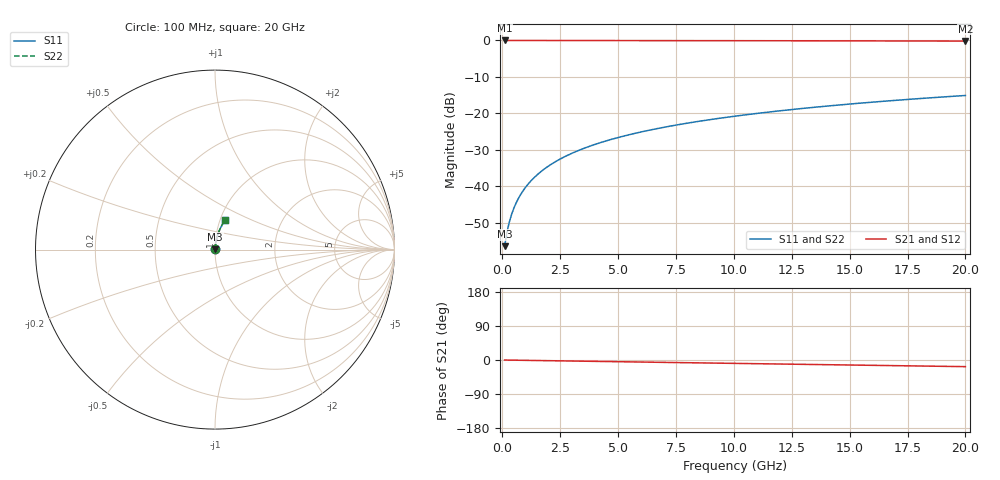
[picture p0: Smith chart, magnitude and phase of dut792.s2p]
! Touchstone file exported from HFSS 2026.1.0
!  File:  C:/ffzhzh/LocalFiles/Ansys_Project_Files/temp_train_TMRDL_792_1783155976_43440.aedt
!  Generated:  05:07:29 PM Jul  4, 2026
!  Design:  TMRDL
!  Project:  temp_train_TMRDL_792_1783155976_43440
! Variables:
!  h_bsmrdl = 2um
!  h_ox = 20um
!  h_rdl = 5um
!  h_sub = 80um
!  h_tmrdl = 4.39um
!  h_tsv = 80um
!  h_via = 3um
!  l_bsmrdl = 300um
!  l_sub = 625.26um
!  l_tmrdl = 225.26um
!  m_sub = 200um
!  pitch = 43.85um
!  r_tsv = 6um
!  s_tmrdl = 10um
!  w_bsmrdl = 18um
!  w_sub = 500um
!  w_tmrdl = 19.24um
!  x_tsv_center1 = 234.88um
!  x_tsv_center2 = 552.88um
!  x_tsv_center3 = 797.38um
!  x_tsv_center4 = 1115.38um
!  x_tsv_center5 = 1359.88um
!  x_tsv_center6 = 1677.88um
# GHz S MA R 50.000000
! Terminal data exported
! Port[1] = TM_RDL1_1_T1
! Port[2] = TM_RDL1_1_T2
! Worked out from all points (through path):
!   200 points, 100 MHz to 20 GHz, reference 50 ohm
!   highest |S21| = -0.01 dB at 100 MHz (marker M1); lowest = -0.2 dB at 20 GHz (marker M2)
!   group delay of S21, straight-line fit = 2.43 ps
!   lowest |S11| = -56.4 dB at 100 MHz (marker M3), VSWR 1.00, Z = 50.1 + j0.102 ohm
!   |S11| at or under -10 dB: start of sweep to end of sweep
!   |S22| runs from -56.4 to -15.1 dB; largest |S21 - S12| = 4.4e-15
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0.1  0.001506 42.6  0.9989 -0.1  0.9989 -0.1  0.001506 42.6
! Gamma 0 0 0 0
! Port Impedance 50 0 50 0
0.2  0.002318 59.8  0.9988 -0.2  0.9988 -0.2  0.002318 59.8
0.3  0.003199 67.5  0.9988 -0.3  0.9988 -0.3  0.003199 67.5
0.4  0.004097 71.9  0.9987 -0.4  0.9987 -0.4  0.004097 71.9
0.5  0.005004 74.7  0.9987 -0.5  0.9987 -0.5  0.005004 74.7
0.6  0.005919 76.8  0.9987 -0.6  0.9987 -0.6  0.005919 76.8
0.8  0.007763 79.4  0.9986 -0.7  0.9986 -0.7  0.007763 79.4
1.1  0.01055 81.5  0.9986 -1.0  0.9986 -1.0  0.01055 81.5
1.5  0.01429 82.8  0.9984 -1.4  0.9984 -1.4  0.01429 82.8
1.8  0.01709 83.3  0.9983 -1.6  0.9983 -1.6  0.01709 83.3
2.1  0.01989 83.5  0.9982 -1.9  0.9982 -1.9  0.01989 83.5
2.7  0.02548 83.7  0.9979 -2.5  0.9979 -2.5  0.02548 83.7
3.5  0.03287 83.4  0.9975 -3.2  0.9975 -3.2  0.03287 83.4
4.2  0.03929 83.0  0.9971 -3.8  0.9971 -3.8  0.03929 83.0
5  0.04657 82.5  0.9965 -4.5  0.9965 -4.5  0.04657 82.5
5.9  0.05469 81.9  0.9958 -5.3  0.9958 -5.3  0.05469 81.9
6.8  0.06275 81.2  0.9951 -6.1  0.9951 -6.1  0.06275 81.2
8.3  0.07607 80.1  0.9938 -7.4  0.9938 -7.4  0.07607 80.1
10.1  0.09188 78.7  0.9921 -9.0  0.9921 -9.0  0.09188 78.7
13.4  0.1204 76.1  0.9884 -11.9  0.9884 -11.9  0.1204 76.1
16.7  0.1484 73.4  0.9841 -14.7  0.9841 -14.7  0.1484 73.4
20  0.1756 70.8  0.9792 -17.5  0.9792 -17.5  0.1756 70.7
